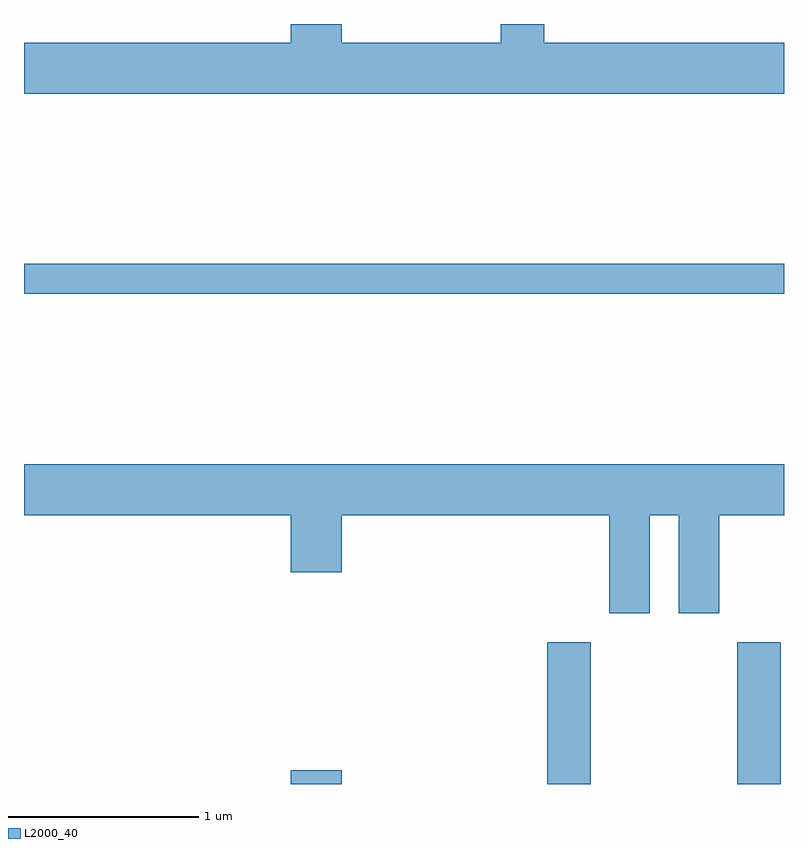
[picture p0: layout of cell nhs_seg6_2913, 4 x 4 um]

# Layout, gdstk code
import gdstk
lib = gdstk.Library(unit=1e-6, precision=1e-09)
def R(c, l, rs):  # rectangles x0, y0, x1, y1
    for r in rs: c.add(gdstk.rectangle(r[:2], r[2:], *l))
def P(c, l, *ps):  # polygons
    for p in ps: c.add(gdstk.Polygon(p, *l))
L2000_40 = (2000, 40)

nhs_seg6_2913 = lib.new_cell('nhs_seg6_2913')
R(nhs_seg6_2913, L2000_40, [(275.016,1564.162,275.284,1564.234), (276.366,1564.162,276.594,1564.909), (277.366,1564.162,277.594,1564.909), (273.611,1566.741,277.611,1566.899)])
P(nhs_seg6_2913, L2000_40, [(277.611,1568.064),(276.349,1568.064),(276.349,1568.162),(276.121,1568.162),(276.121,1568.064),(275.284,1568.064),(275.284,1568.162),(275.016,1568.162),(275.016,1568.064),(273.611,1568.064),(273.611,1567.796),(277.611,1567.796)],
  [(276.904,1565.576),(277.056,1565.576),(277.056,1565.061),(277.269,1565.061),(277.269,1565.576),(277.611,1565.576),(277.611,1565.844),(273.611,1565.844),(273.611,1565.576),(275.016,1565.576),(275.016,1565.276),(275.284,1565.276),(275.284,1565.576),(276.691,1565.576),(276.691,1565.061),(276.904,1565.061)])

lib.write_gds('nhs_seg6_2913.gds')
